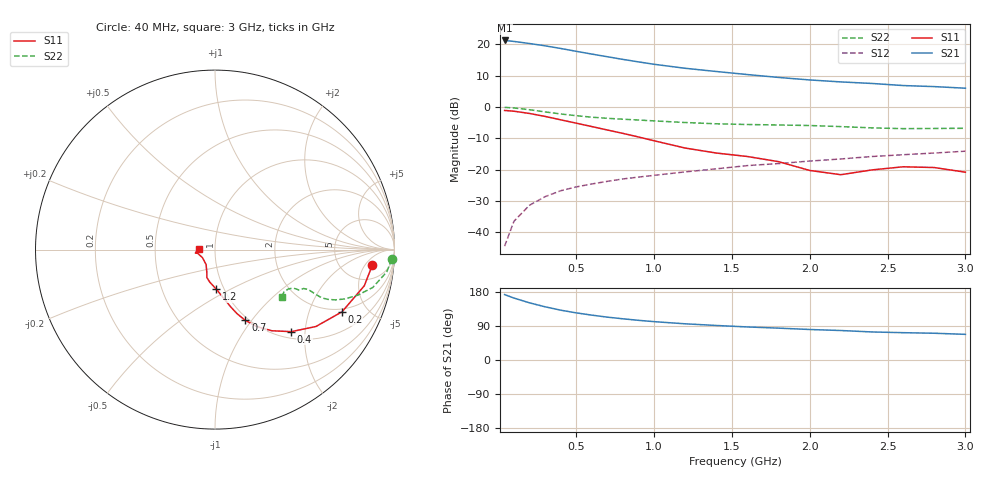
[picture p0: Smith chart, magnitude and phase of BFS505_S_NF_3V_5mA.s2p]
! Filename:  BFS505E.S2P  Version:  4.0
! Philips part #: BFS505  Date: Jun 1994
! Bias condition: Vce=3V, Ic=5mA
#  MHz  S  MA  R  50
! Freq  S11  S21  S12  S22  !GUM [dB]
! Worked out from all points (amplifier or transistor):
!   21 points, 40 MHz to 3 GHz, reference 50 ohm
!   highest |S21| = 21.2 dB at 40 MHz (marker M1)
!   |S21| within 3 dB of that: start of sweep to 448.9 MHz
!   unconditionally stable (mu >= 1): 1.118 GHz to end of sweep
!   at 300 MHz: K = 0.45, MSG = 24.1 dB, |S12| = -28.6 dB
!   at 1 GHz: K = 0.95, MSG = 17.7 dB, |S12| = -21.8 dB
!   at 3 GHz: K = 1.15, MAG = 7.7 dB, |S12| = -14.1 dB
!   lowest NFmin = 1.45 dB at 500 MHz
!   S11 on the Smith chart (normalised r, x): 40 MHz: 10, -8; 200 MHz: 1.84, -3.37; 400 MHz: 1.13, -1.69; 700 MHz: 0.96, -0.93; 1.2 GHz: 0.92, -0.43; 3 GHz: 0.83, +0.01
40  0.881 -5.6  11.53 172.6  0.006 87.2  0.986 -3.1
100  0.856 -13.6  11.13 163.5  0.015 80.4  0.965 -7.4
200  0.788 -26.1  10.31 150.8  0.027 73.9  0.904 -13.5
300  0.707 -37.3  9.476 140.4  0.037 69.1  0.835 -17.7
400  0.624 -47.1  8.592 131.5  0.046 66.7  0.774 -20.8
500  0.552 -55.0  7.742 124.4  0.053 64.9  0.726 -22.7
600  0.487 -61.6  6.993 118.4  0.059 64.6  0.687 -23.8
700  0.429 -66.8  6.339 113.1  0.065 64.6  0.66 -24.2
800  0.379 -70.9  5.748 108.7  0.071 64.9  0.638 -24.2
900  0.332 -74.6  5.247 104.7  0.076 65.3  0.619 -24.0
1000  0.289 -78.3  4.805 101.2  0.081 65.5  0.6 -23.7
1200  0.221 -88.0  4.147 95.5  0.092 66.1  0.565 -23.2
1400  0.184 -99.0  3.685 91.1  0.103 67.4  0.539 -23.7
1600  0.162 -106.2  3.293 87.2  0.116 67.9  0.525 -25.2
1800  0.134 -109.9  2.962 84.1  0.125 68.8  0.516 -25.8
2000  0.097 -120.7  2.701 80.5  0.137 69.1  0.506 -25.8
2200  0.083 -147.1  2.513 77.8  0.148 69.6  0.486 -26.2
2400  0.099 -168.2  2.374 74.0  0.162 69.6  0.464 -28.2
2600  0.111 -169.9  2.199 72.1  0.173 69.4  0.451 -31.5
2800  0.108 -171.6  2.115 70.6  0.184 70.4  0.454 -34.0
3000  0.091 177.0  1.994 67.7  0.197 70.4  0.457 -35.1
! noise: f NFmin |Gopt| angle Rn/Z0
500  1.45  0.536  7  0.55
900  1.6  0.487  8  0.57
2000  2.1  0.297  41  0.47
